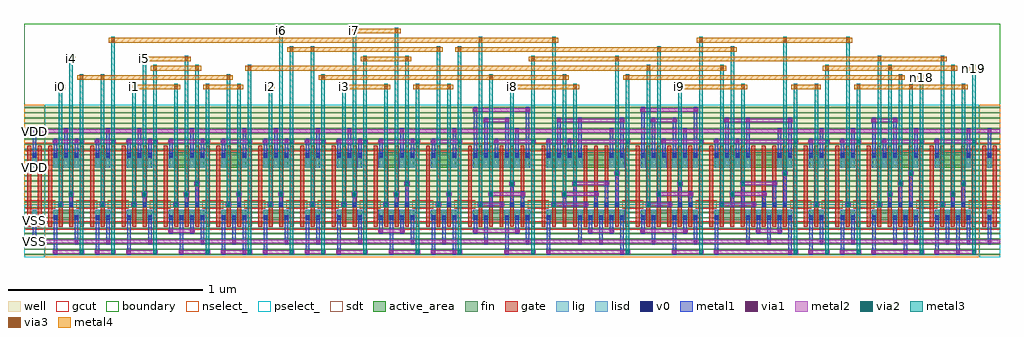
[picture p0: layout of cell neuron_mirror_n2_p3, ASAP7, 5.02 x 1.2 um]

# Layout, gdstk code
import gdstk
lib = gdstk.Library(unit=1e-6, precision=2.5e-10)
def R(c, l, rs):  # rectangles x0, y0, x1, y1
    for r in rs: c.add(gdstk.rectangle(r[:2], r[2:], *l))
def A(c, l, x, y, w, h, nx, ny, dx, dy):  # array of equal rectangles
    R(c, l, [(x+i*dx, y+j*dy, x+i*dx+w, y+j*dy+h) for i in range(nx) for j in range(ny)])
well = (1, 0)
fin = (2, 0)
gate = (7, 0)
gcut = (10, 0)
active_area = (11, 0)
nselect_ = (12, 0)
pselect_ = (13, 0)
lig = (16, 0)
lisd = (17, 0)
v0 = (18, 0)
metal1 = (19, 0)
metal2 = (20, 0)
via1 = (21, 0)
via2 = (25, 0)
metal3 = (30, 0)
via3 = (35, 0)
metal4 = (40, 0)
sdt = (88, 0)
boundary = (100, 0)

neuron_mirror_n2_p3 = lib.new_cell('neuron_mirror_n2_p3')
R(neuron_mirror_n2_p3, well, [(0,0.27,0.108,0.783), (0.108,0.27,0.324,0.783), (0.324,0.27,0.486,0.783), (0.486,0.27,0.702,0.783), (0.702,0.27,0.972,0.783), (0.972,0.27,1.188,0.783), (1.188,0.27,1.404,0.783), (1.404,0.27,1.566,0.783), (1.566,0.27,1.782,0.783), (1.782,0.27,2.052,0.783), (2.052,0.27,2.268,0.783), (2.268,0.27,2.646,0.783), (2.646,0.27,3.132,0.783), (3.132,0.27,3.51,0.783), (3.51,0.27,3.996,0.783), (3.996,0.27,4.158,0.783), (4.158,0.27,4.32,0.783), (4.32,0.27,4.644,0.783), (4.644,0.27,4.914,0.783), (4.914,0.27,5.022,0.783)])
A(neuron_mirror_n2_p3, fin, 0, 0.01, 0.108, 0.007, 1, 29, 0, 0.027)
A(neuron_mirror_n2_p3, fin, 0.108, 0.01, 0.216, 0.007, 1, 29, 0, 0.027)
A(neuron_mirror_n2_p3, fin, 0.324, 0.01, 0.162, 0.007, 1, 29, 0, 0.027)
A(neuron_mirror_n2_p3, fin, 0.486, 0.01, 0.216, 0.007, 1, 29, 0, 0.027)
A(neuron_mirror_n2_p3, fin, 0.702, 0.01, 0.27, 0.007, 1, 29, 0, 0.027)
A(neuron_mirror_n2_p3, fin, 0.972, 0.01, 0.216, 0.007, 1, 29, 0, 0.027)
A(neuron_mirror_n2_p3, fin, 1.188, 0.01, 0.216, 0.007, 1, 29, 0, 0.027)
A(neuron_mirror_n2_p3, fin, 1.404, 0.01, 0.162, 0.007, 1, 29, 0, 0.027)
A(neuron_mirror_n2_p3, fin, 1.566, 0.01, 0.216, 0.007, 1, 29, 0, 0.027)
A(neuron_mirror_n2_p3, fin, 1.782, 0.01, 0.27, 0.007, 1, 29, 0, 0.027)
A(neuron_mirror_n2_p3, fin, 2.052, 0.01, 0.216, 0.007, 1, 29, 0, 0.027)
A(neuron_mirror_n2_p3, fin, 2.268, 0.01, 0.378, 0.007, 1, 29, 0, 0.027)
A(neuron_mirror_n2_p3, fin, 2.646, 0.01, 0.486, 0.007, 1, 29, 0, 0.027)
A(neuron_mirror_n2_p3, fin, 3.132, 0.01, 0.378, 0.007, 1, 29, 0, 0.027)
A(neuron_mirror_n2_p3, fin, 3.51, 0.01, 0.486, 0.007, 1, 29, 0, 0.027)
A(neuron_mirror_n2_p3, fin, 3.996, 0.01, 0.162, 0.007, 1, 29, 0, 0.027)
A(neuron_mirror_n2_p3, fin, 4.158, 0.01, 0.162, 0.007, 1, 29, 0, 0.027)
A(neuron_mirror_n2_p3, fin, 4.32, 0.01, 0.324, 0.007, 1, 29, 0, 0.027)
A(neuron_mirror_n2_p3, fin, 4.644, 0.01, 0.27, 0.007, 1, 29, 0, 0.027)
A(neuron_mirror_n2_p3, fin, 4.914, 0.01, 0.108, 0.007, 1, 29, 0, 0.027)
A(neuron_mirror_n2_p3, gate, 0.017, 0.157, 0.02, 0.415, 93, 1, 0.054, 0)
R(neuron_mirror_n2_p3, gcut, [(0,0.14,0.108,0.184), (0.108,0.14,0.324,0.184), (0.324,0.14,0.486,0.184), (0.486,0.14,0.702,0.184), (0.702,0.14,0.972,0.184), (0.972,0.14,1.188,0.184), (1.188,0.14,1.404,0.184), (1.404,0.14,1.566,0.184), (1.566,0.14,1.782,0.184), (1.782,0.14,2.052,0.184), (2.052,0.14,2.268,0.184), (2.268,0.14,2.646,0.184), (2.646,0.14,3.132,0.184), (3.132,0.14,3.51,0.184), (3.51,0.14,3.996,0.184), (3.996,0.14,4.158,0.184), (4.158,0.14,4.32,0.184), (4.32,0.14,4.644,0.184), (4.644,0.14,4.914,0.184), (4.914,0.14,5.022,0.184), (0,0.248,0.108,0.292), (0.108,0.248,0.162,0.292), (0.27,0.248,0.324,0.292), (0.324,0.248,0.378,0.292), (0.432,0.248,0.486,0.292), (0.486,0.248,0.54,0.292), (0.648,0.248,0.702,0.292), (0.702,0.248,0.756,0.292), (0.918,0.248,0.972,0.292), (0.972,0.248,1.026,0.292), (1.134,0.248,1.188,0.292), (1.188,0.248,1.242,0.292), (1.35,0.248,1.404,0.292), (1.404,0.248,1.458,0.292), (1.512,0.248,1.566,0.292), (1.566,0.248,1.62,0.292), (1.728,0.248,1.782,0.292), (1.782,0.248,1.836,0.292), (1.998,0.248,2.052,0.292), (2.052,0.248,2.106,0.292), (2.214,0.248,2.268,0.292), (2.268,0.248,2.322,0.292), (2.592,0.248,2.646,0.292), (2.646,0.248,2.7,0.292), (3.078,0.248,3.132,0.292), (3.132,0.248,3.186,0.292), (3.456,0.248,3.51,0.292), (3.51,0.248,3.564,0.292), (3.942,0.248,3.996,0.292), (3.996,0.248,4.05,0.292), (4.104,0.248,4.158,0.292), (4.158,0.248,4.212,0.292), (4.266,0.248,4.32,0.292), (4.32,0.248,4.374,0.292), (4.59,0.248,4.644,0.292), (4.644,0.248,4.698,0.292), (4.86,0.248,4.914,0.292), (4.914,0.248,5.022,0.292), (0,0.545,0.108,0.589), (0.108,0.545,0.324,0.589), (0.324,0.545,0.486,0.589), (0.486,0.545,0.702,0.589), (0.702,0.545,0.972,0.589), (0.972,0.545,1.188,0.589), (1.188,0.545,1.404,0.589), (1.404,0.545,1.566,0.589), (1.566,0.545,1.782,0.589), (1.782,0.545,2.052,0.589), (2.052,0.545,2.268,0.589), (2.268,0.545,2.646,0.589), (2.646,0.545,3.132,0.589), (3.132,0.545,3.51,0.589), (3.51,0.545,3.996,0.589), (3.996,0.545,4.158,0.589), (4.158,0.545,4.32,0.589), (4.32,0.545,4.644,0.589), (4.644,0.545,4.914,0.589), (4.914,0.545,5.022,0.589)])
R(neuron_mirror_n2_p3, active_area, [(0.046,0.189,0.062,0.243), (0.154,0.189,0.278,0.243), (0.37,0.189,0.44,0.243), (0.532,0.189,0.656,0.243), (0.748,0.189,0.926,0.243), (1.018,0.189,1.142,0.243), (1.234,0.189,1.358,0.243), (1.45,0.189,1.52,0.243), (1.612,0.189,1.736,0.243), (1.828,0.189,2.006,0.243), (2.098,0.189,2.222,0.243), (2.314,0.189,2.6,0.243), (2.692,0.189,3.086,0.243), (3.178,0.189,3.464,0.243), (3.556,0.189,3.95,0.243), (4.042,0.189,4.112,0.243), (4.204,0.189,4.274,0.243), (4.366,0.189,4.598,0.243), (4.69,0.189,4.868,0.243), (4.96,0.189,4.976,0.243), (0.046,0.459,0.062,0.54), (0.154,0.459,0.278,0.54), (0.37,0.459,0.44,0.54), (0.532,0.459,0.656,0.54), (0.748,0.459,0.926,0.54), (1.018,0.459,1.142,0.54), (1.234,0.459,1.358,0.54), (1.45,0.459,1.52,0.54), (1.612,0.459,1.736,0.54), (1.828,0.459,2.006,0.54), (2.098,0.459,2.222,0.54), (2.314,0.459,2.6,0.54), (2.692,0.459,3.086,0.54), (3.178,0.459,3.464,0.54), (3.556,0.459,3.95,0.54), (4.042,0.459,4.112,0.54), (4.204,0.459,4.274,0.54), (4.366,0.459,4.598,0.54), (4.69,0.459,4.868,0.54), (4.96,0.459,4.976,0.54)])
R(neuron_mirror_n2_p3, nselect_, [(0.108,0,0.324,0.27), (0.324,0,0.486,0.27), (0.486,0,0.702,0.27), (0.702,0,0.972,0.27), (0.972,0,1.188,0.27), (1.188,0,1.404,0.27), (1.404,0,1.566,0.27), (1.566,0,1.782,0.27), (1.782,0,2.052,0.27), (2.052,0,2.268,0.27), (2.268,0,2.646,0.27), (2.646,0,3.132,0.27), (3.132,0,3.51,0.27), (3.51,0,3.996,0.27), (3.996,0,4.158,0.27), (4.158,0,4.32,0.27), (4.32,0,4.644,0.27), (4.644,0,4.914,0.27), (0,0.27,0.108,0.783), (4.914,0.27,5.022,0.783)])
R(neuron_mirror_n2_p3, pselect_, [(0,0,0.108,0.27), (4.914,0,5.022,0.27), (0.108,0.27,0.324,0.783), (0.324,0.27,0.486,0.783), (0.486,0.27,0.702,0.783), (0.702,0.27,0.972,0.783), (0.972,0.27,1.188,0.783), (1.188,0.27,1.404,0.783), (1.404,0.27,1.566,0.783), (1.566,0.27,1.782,0.783), (1.782,0.27,2.052,0.783), (2.052,0.27,2.268,0.783), (2.268,0.27,2.646,0.783), (2.646,0.27,3.132,0.783), (3.132,0.27,3.51,0.783), (3.51,0.27,3.996,0.783), (3.996,0.27,4.158,0.783), (4.158,0.27,4.32,0.783), (4.32,0.27,4.644,0.783), (4.644,0.27,4.914,0.783)])
A(neuron_mirror_n2_p3, lig, 0.232, 0.259, 0.022, 0.022, 3, 1, 0.162, 0)
A(neuron_mirror_n2_p3, lig, 0.772, 0.259, 0.022, 0.022, 3, 1, 0.054, 0)
A(neuron_mirror_n2_p3, lig, 1.312, 0.259, 0.022, 0.022, 3, 1, 0.162, 0)
A(neuron_mirror_n2_p3, lig, 1.852, 0.259, 0.022, 0.022, 3, 1, 0.054, 0)
A(neuron_mirror_n2_p3, lig, 2.338, 0.259, 0.022, 0.022, 5, 1, 0.054, 0)
A(neuron_mirror_n2_p3, lig, 2.716, 0.259, 0.022, 0.022, 7, 1, 0.054, 0)
A(neuron_mirror_n2_p3, lig, 3.202, 0.259, 0.022, 0.022, 5, 1, 0.054, 0)
A(neuron_mirror_n2_p3, lig, 3.58, 0.259, 0.022, 0.022, 7, 1, 0.054, 0)
A(neuron_mirror_n2_p3, lig, 4.066, 0.259, 0.022, 0.022, 3, 1, 0.162, 0)
A(neuron_mirror_n2_p3, lig, 4.444, 0.259, 0.022, 0.022, 3, 1, 0.054, 0)
A(neuron_mirror_n2_p3, lig, 4.714, 0.259, 0.022, 0.022, 3, 1, 0.054, 0)
R(neuron_mirror_n2_p3, lig, [(0.178,0.259,0.2,0.281), (0.61,0.259,0.632,0.281), (1.042,0.259,1.064,0.281), (1.096,0.259,1.118,0.281), (1.258,0.259,1.28,0.281), (1.69,0.259,1.712,0.281), (2.122,0.259,2.144,0.281), (2.176,0.259,2.198,0.281)])
A(neuron_mirror_n2_p3, lisd, 0.042, 0.189, 0.024, 0.054, 4, 1, 0.108, 0)
A(neuron_mirror_n2_p3, lisd, 0.42, 0.189, 0.024, 0.054, 4, 1, 0.108, 0)
A(neuron_mirror_n2_p3, lisd, 0.798, 0.189, 0.024, 0.054, 3, 1, 0.054, 0)
A(neuron_mirror_n2_p3, lisd, 1.014, 0.189, 0.024, 0.054, 3, 1, 0.054, 0)
A(neuron_mirror_n2_p3, lisd, 1.23, 0.189, 0.024, 0.054, 3, 1, 0.108, 0)
A(neuron_mirror_n2_p3, lisd, 1.5, 0.189, 0.024, 0.054, 4, 1, 0.108, 0)
A(neuron_mirror_n2_p3, lisd, 1.878, 0.189, 0.024, 0.054, 3, 1, 0.054, 0)
A(neuron_mirror_n2_p3, lisd, 2.094, 0.189, 0.024, 0.054, 3, 1, 0.054, 0)
A(neuron_mirror_n2_p3, lisd, 2.472, 0.189, 0.024, 0.054, 3, 1, 0.054, 0)
A(neuron_mirror_n2_p3, lisd, 2.85, 0.189, 0.024, 0.054, 5, 1, 0.054, 0)
A(neuron_mirror_n2_p3, lisd, 3.336, 0.189, 0.024, 0.054, 3, 1, 0.054, 0)
A(neuron_mirror_n2_p3, lisd, 3.714, 0.189, 0.024, 0.054, 5, 1, 0.054, 0)
A(neuron_mirror_n2_p3, lisd, 4.254, 0.189, 0.024, 0.054, 3, 1, 0.108, 0)
A(neuron_mirror_n2_p3, lisd, 4.686, 0.189, 0.024, 0.054, 4, 1, 0.054, 0)
A(neuron_mirror_n2_p3, lisd, 0.15, 0.459, 0.024, 0.081, 3, 1, 0.054, 0)
A(neuron_mirror_n2_p3, lisd, 0.528, 0.459, 0.024, 0.081, 3, 1, 0.054, 0)
A(neuron_mirror_n2_p3, lisd, 0.906, 0.459, 0.024, 0.081, 4, 1, 0.108, 0)
A(neuron_mirror_n2_p3, lisd, 1.608, 0.459, 0.024, 0.081, 3, 1, 0.054, 0)
A(neuron_mirror_n2_p3, lisd, 1.986, 0.459, 0.024, 0.081, 4, 1, 0.108, 0)
A(neuron_mirror_n2_p3, lisd, 2.364, 0.459, 0.024, 0.081, 5, 1, 0.054, 0)
A(neuron_mirror_n2_p3, lisd, 2.688, 0.459, 0.024, 0.081, 4, 1, 0.054, 0)
A(neuron_mirror_n2_p3, lisd, 3.174, 0.459, 0.024, 0.081, 6, 1, 0.054, 0)
A(neuron_mirror_n2_p3, lisd, 3.552, 0.459, 0.024, 0.081, 4, 1, 0.054, 0)
A(neuron_mirror_n2_p3, lisd, 4.362, 0.459, 0.024, 0.081, 3, 1, 0.054, 0)
R(neuron_mirror_n2_p3, lisd, [(2.31,0.189,2.334,0.243), (2.364,0.189,2.388,0.243), (2.688,0.189,2.712,0.243), (3.174,0.189,3.198,0.243), (3.228,0.189,3.252,0.243), (3.552,0.189,3.576,0.243), (4.038,0.189,4.062,0.243), (4.092,0.189,4.116,0.243), (4.2,0.189,4.224,0.243), (4.524,0.189,4.548,0.243), (4.578,0.189,4.602,0.243), (4.956,0.189,4.98,0.243), (0.042,0.459,0.066,0.54), (0.366,0.459,0.39,0.54), (0.42,0.459,0.444,0.54), (0.744,0.459,0.768,0.54), (0.852,0.459,0.876,0.54), (1.284,0.459,1.308,0.54), (1.338,0.459,1.362,0.54), (1.446,0.459,1.47,0.54), (1.5,0.459,1.524,0.54), (1.824,0.459,1.848,0.54), (1.932,0.459,1.956,0.54), (3.012,0.459,3.036,0.54), (3.066,0.459,3.09,0.54), (3.876,0.459,3.9,0.54), (3.93,0.459,3.954,0.54), (4.038,0.459,4.062,0.54), (4.092,0.459,4.116,0.54), (4.2,0.459,4.224,0.54), (4.254,0.459,4.278,0.54), (4.578,0.459,4.602,0.54), (4.686,0.459,4.71,0.54), (4.848,0.459,4.872,0.54), (4.956,0.459,4.98,0.54)])
A(neuron_mirror_n2_p3, v0, 0.045, 0.1935, 0.018, 0.018, 4, 1, 0.108, 0)
A(neuron_mirror_n2_p3, v0, 0.423, 0.1935, 0.018, 0.018, 4, 1, 0.108, 0)
A(neuron_mirror_n2_p3, v0, 0.801, 0.1935, 0.018, 0.018, 3, 1, 0.054, 0)
A(neuron_mirror_n2_p3, v0, 1.017, 0.1935, 0.018, 0.018, 3, 1, 0.054, 0)
A(neuron_mirror_n2_p3, v0, 1.233, 0.1935, 0.018, 0.018, 3, 1, 0.108, 0)
A(neuron_mirror_n2_p3, v0, 1.503, 0.1935, 0.018, 0.018, 4, 1, 0.108, 0)
A(neuron_mirror_n2_p3, v0, 1.881, 0.1935, 0.018, 0.018, 3, 1, 0.054, 0)
A(neuron_mirror_n2_p3, v0, 2.097, 0.1935, 0.018, 0.018, 3, 1, 0.054, 0)
A(neuron_mirror_n2_p3, v0, 2.475, 0.1935, 0.018, 0.018, 3, 1, 0.054, 0)
A(neuron_mirror_n2_p3, v0, 2.853, 0.1935, 0.018, 0.018, 5, 1, 0.054, 0)
A(neuron_mirror_n2_p3, v0, 3.339, 0.1935, 0.018, 0.018, 3, 1, 0.054, 0)
A(neuron_mirror_n2_p3, v0, 3.717, 0.1935, 0.018, 0.018, 5, 1, 0.054, 0)
A(neuron_mirror_n2_p3, v0, 4.257, 0.1935, 0.018, 0.018, 3, 1, 0.108, 0)
A(neuron_mirror_n2_p3, v0, 4.689, 0.1935, 0.018, 0.018, 4, 1, 0.054, 0)
A(neuron_mirror_n2_p3, v0, 0.234, 0.261, 0.018, 0.018, 3, 1, 0.162, 0)
A(neuron_mirror_n2_p3, v0, 0.774, 0.261, 0.018, 0.018, 3, 1, 0.054, 0)
A(neuron_mirror_n2_p3, v0, 1.314, 0.261, 0.018, 0.018, 3, 1, 0.162, 0)
A(neuron_mirror_n2_p3, v0, 1.854, 0.261, 0.018, 0.018, 3, 1, 0.054, 0)
A(neuron_mirror_n2_p3, v0, 2.34, 0.261, 0.018, 0.018, 5, 1, 0.054, 0)
A(neuron_mirror_n2_p3, v0, 2.718, 0.261, 0.018, 0.018, 7, 1, 0.054, 0)
A(neuron_mirror_n2_p3, v0, 3.204, 0.261, 0.018, 0.018, 5, 1, 0.054, 0)
A(neuron_mirror_n2_p3, v0, 3.582, 0.261, 0.018, 0.018, 7, 1, 0.054, 0)
A(neuron_mirror_n2_p3, v0, 4.068, 0.261, 0.018, 0.018, 3, 1, 0.162, 0)
A(neuron_mirror_n2_p3, v0, 4.446, 0.261, 0.018, 0.018, 3, 1, 0.054, 0)
A(neuron_mirror_n2_p3, v0, 4.716, 0.261, 0.018, 0.018, 3, 1, 0.054, 0)
A(neuron_mirror_n2_p3, v0, 0.153, 0.5175, 0.018, 0.018, 3, 1, 0.054, 0)
A(neuron_mirror_n2_p3, v0, 0.531, 0.5175, 0.018, 0.018, 3, 1, 0.054, 0)
A(neuron_mirror_n2_p3, v0, 0.909, 0.5175, 0.018, 0.018, 4, 1, 0.108, 0)
A(neuron_mirror_n2_p3, v0, 1.611, 0.5175, 0.018, 0.018, 3, 1, 0.054, 0)
A(neuron_mirror_n2_p3, v0, 1.989, 0.5175, 0.018, 0.018, 4, 1, 0.108, 0)
A(neuron_mirror_n2_p3, v0, 2.367, 0.5175, 0.018, 0.018, 5, 1, 0.054, 0)
A(neuron_mirror_n2_p3, v0, 2.691, 0.5175, 0.018, 0.018, 4, 1, 0.054, 0)
A(neuron_mirror_n2_p3, v0, 3.177, 0.5175, 0.018, 0.018, 6, 1, 0.054, 0)
A(neuron_mirror_n2_p3, v0, 3.555, 0.5175, 0.018, 0.018, 4, 1, 0.054, 0)
A(neuron_mirror_n2_p3, v0, 4.365, 0.5175, 0.018, 0.018, 3, 1, 0.054, 0)
R(neuron_mirror_n2_p3, v0, [(2.313,0.1935,2.331,0.2115), (2.367,0.1935,2.385,0.2115), (2.691,0.1935,2.709,0.2115), (3.177,0.1935,3.195,0.2115), (3.231,0.1935,3.249,0.2115), (3.555,0.1935,3.573,0.2115), (4.041,0.1935,4.059,0.2115), (4.095,0.1935,4.113,0.2115), (4.203,0.1935,4.221,0.2115), (4.527,0.1935,4.545,0.2115), (4.581,0.1935,4.599,0.2115), (4.959,0.1935,4.977,0.2115), (0.18,0.261,0.198,0.279), (0.612,0.261,0.63,0.279), (1.044,0.261,1.062,0.279), (1.098,0.261,1.116,0.279), (1.26,0.261,1.278,0.279), (1.692,0.261,1.71,0.279), (2.124,0.261,2.142,0.279), (2.178,0.261,2.196,0.279), (0.045,0.5175,0.063,0.5355), (0.369,0.5175,0.387,0.5355), (0.423,0.5175,0.441,0.5355), (0.747,0.5175,0.765,0.5355), (0.855,0.5175,0.873,0.5355), (1.287,0.5175,1.305,0.5355), (1.341,0.5175,1.359,0.5355), (1.449,0.5175,1.467,0.5355), (1.503,0.5175,1.521,0.5355), (1.827,0.5175,1.845,0.5355), (1.935,0.5175,1.953,0.5355), (3.015,0.5175,3.033,0.5355), (3.069,0.5175,3.087,0.5355), (3.879,0.5175,3.897,0.5355), (3.933,0.5175,3.951,0.5355), (4.041,0.5175,4.059,0.5355), (4.095,0.5175,4.113,0.5355), (4.203,0.5175,4.221,0.5355), (4.257,0.5175,4.275,0.5355), (4.581,0.5175,4.599,0.5355), (4.689,0.5175,4.707,0.5355), (4.851,0.5175,4.869,0.5355), (4.959,0.5175,4.977,0.5355)])
A(neuron_mirror_n2_p3, metal1, 1.017, 0.013, 0.018, 0.2035, 3, 1, 0.108, 0)
A(neuron_mirror_n2_p3, metal1, 4.041, 0.013, 0.018, 0.2035, 5, 1, 0.162, 0)
A(neuron_mirror_n2_p3, metal1, 2.151, 0.067, 0.018, 0.1495, 3, 1, 0.216, 0)
A(neuron_mirror_n2_p3, metal1, 4.743, 0.067, 0.018, 0.1495, 3, 1, 0.108, 0)
A(neuron_mirror_n2_p3, metal1, 1.044, 0.256, 0.018, 0.028, 3, 1, 0.216, 0)
A(neuron_mirror_n2_p3, metal1, 4.068, 0.256, 0.018, 0.028, 3, 1, 0.162, 0)
A(neuron_mirror_n2_p3, metal1, 0.153, 0.5125, 0.018, 0.0955, 3, 1, 0.108, 0)
A(neuron_mirror_n2_p3, metal1, 0.531, 0.5125, 0.018, 0.0955, 3, 1, 0.108, 0)
A(neuron_mirror_n2_p3, metal1, 0.585, 0.5125, 0.018, 0.1495, 3, 1, 0.27, 0)
A(neuron_mirror_n2_p3, metal1, 1.233, 0.5125, 0.018, 0.0955, 3, 1, 0.108, 0)
A(neuron_mirror_n2_p3, metal1, 1.611, 0.5125, 0.018, 0.0955, 3, 1, 0.108, 0)
A(neuron_mirror_n2_p3, metal1, 1.665, 0.5125, 0.018, 0.1495, 3, 1, 0.27, 0)
R(neuron_mirror_n2_p3, metal1, [(0.153,0.013,0.171,0.2165), (0.369,0.013,0.387,0.2165), (0.531,0.013,0.549,0.2165), (0.801,0.013,0.819,0.2165), (1.449,0.013,1.467,0.2165), (1.611,0.013,1.629,0.2165), (1.881,0.013,1.899,0.2165), (2.097,0.013,2.115,0.2165), (2.205,0.013,2.223,0.2165), (2.475,0.013,2.493,0.2165), (2.691,0.013,2.709,0.2165), (3.069,0.013,3.087,0.2165), (3.339,0.013,3.357,0.2165), (3.555,0.013,3.573,0.2165), (3.933,0.013,3.951,0.2165), (4.797,0.013,4.815,0.2165), (0.045,0.067,0.063,0.2165), (0.261,0.067,0.279,0.2165), (0.423,0.067,0.441,0.2165), (0.639,0.067,0.657,0.2165), (0.909,0.067,0.927,0.2165), (1.071,0.067,1.089,0.2165), (1.341,0.067,1.359,0.2165), (1.503,0.067,1.521,0.2165), (1.719,0.067,1.737,0.2165), (1.989,0.067,2.007,0.2165), (2.853,0.067,2.871,0.2165), (2.961,0.067,2.979,0.2165), (3.231,0.067,3.249,0.2165), (3.447,0.067,3.465,0.2165), (3.717,0.067,3.735,0.2165), (3.825,0.067,3.843,0.2165), (4.095,0.067,4.113,0.2165), (4.257,0.067,4.275,0.2165), (4.473,0.067,4.491,0.2165), (4.581,0.067,4.599,0.2165), (0.747,0.121,0.765,0.2165), (0.855,0.121,0.873,0.2165), (1.827,0.121,1.845,0.2165), (1.935,0.121,1.953,0.2165), (2.313,0.121,2.331,0.2165), (2.529,0.121,2.547,0.2165), (2.907,0.121,2.925,0.2165), (3.015,0.121,3.033,0.2165), (3.177,0.121,3.195,0.2165), (3.393,0.121,3.411,0.2165), (3.771,0.121,3.789,0.2165), (3.879,0.121,3.897,0.2165), (0.18,0.256,0.198,0.284), (0.234,0.256,0.252,0.338), (0.396,0.256,0.414,0.284), (0.558,0.256,0.576,0.284), (0.612,0.256,0.63,0.338), (0.774,0.256,0.792,0.284), (0.828,0.256,0.846,0.338), (0.882,0.256,0.9,0.392), (1.098,0.256,1.116,0.338), (1.314,0.256,1.332,0.338), (1.638,0.256,1.656,0.284), (1.692,0.256,1.71,0.338), (1.854,0.256,1.872,0.284), (1.908,0.256,1.926,0.338), (1.962,0.256,1.98,0.392), (2.124,0.256,2.142,0.284), (2.178,0.256,2.196,0.338), (2.34,0.256,2.358,0.284), (2.394,0.256,2.412,0.338), (2.448,0.256,2.466,0.284), (2.502,0.256,2.52,0.392), (2.556,0.256,2.574,0.338), (2.718,0.256,2.736,0.284), (2.772,0.256,2.79,0.338), (2.826,0.256,2.844,0.392), (2.88,0.256,2.898,0.284), (2.934,0.256,2.952,0.338), (2.988,0.256,3.006,0.392), (3.042,0.256,3.06,0.446), (3.204,0.256,3.222,0.284), (3.258,0.256,3.276,0.338), (3.312,0.256,3.33,0.284), (3.366,0.256,3.384,0.392), (3.42,0.256,3.438,0.338), (3.582,0.256,3.6,0.284), (3.636,0.256,3.654,0.338), (3.69,0.256,3.708,0.392), (3.744,0.256,3.762,0.284), (3.798,0.256,3.816,0.338), (3.852,0.256,3.87,0.392), (3.906,0.256,3.924,0.446), (4.446,0.256,4.464,0.338), (4.5,0.256,4.518,0.392), (4.554,0.256,4.572,0.446), (4.716,0.256,4.734,0.284), (4.77,0.256,4.788,0.338), (4.824,0.256,4.842,0.392), (0.045,0.5125,0.063,0.662), (0.207,0.5125,0.225,0.662), (0.423,0.5125,0.441,0.662), (0.909,0.5125,0.927,0.608), (1.017,0.5125,1.035,0.608), (1.287,0.5125,1.305,0.662), (1.503,0.5125,1.521,0.662), (1.989,0.5125,2.007,0.608), (2.097,0.5125,2.115,0.608), (2.313,0.5125,2.331,0.77), (2.367,0.5125,2.385,0.716), (2.421,0.5125,2.439,0.608), (2.475,0.5125,2.493,0.716), (2.529,0.5125,2.547,0.662), (2.583,0.5125,2.601,0.77), (2.691,0.5125,2.709,0.608), (2.745,0.5125,2.763,0.716), (2.799,0.5125,2.817,0.608), (2.853,0.5125,2.871,0.716), (3.015,0.5125,3.033,0.662), (3.069,0.5125,3.087,0.716), (3.177,0.5125,3.195,0.77), (3.231,0.5125,3.249,0.716), (3.285,0.5125,3.303,0.608), (3.339,0.5125,3.357,0.716), (3.393,0.5125,3.411,0.662), (3.447,0.5125,3.465,0.77), (3.555,0.5125,3.573,0.608), (3.609,0.5125,3.627,0.716), (3.663,0.5125,3.681,0.608), (3.717,0.5125,3.735,0.716), (3.879,0.5125,3.897,0.662), (3.933,0.5125,3.951,0.716), (4.041,0.5125,4.059,0.608), (4.095,0.5125,4.113,0.662), (4.203,0.5125,4.221,0.608), (4.257,0.5125,4.275,0.662), (4.365,0.5125,4.383,0.716), (4.419,0.5125,4.437,0.608), (4.473,0.5125,4.491,0.716), (4.581,0.5125,4.599,0.662), (4.689,0.5125,4.707,0.608), (4.851,0.5125,4.869,0.662), (4.959,0.5125,4.977,0.662)])
A(neuron_mirror_n2_p3, metal2, 0.796, 0.018, 0.163, 0.018, 3, 1, 0.216, 0)
A(neuron_mirror_n2_p3, metal2, 0.742, 0.126, 0.136, 0.018, 3, 1, 1.08, 0)
A(neuron_mirror_n2_p3, metal2, 1.039, 0.261, 0.028, 0.018, 3, 1, 0.216, 0)
A(neuron_mirror_n2_p3, metal2, 4.063, 0.261, 0.028, 0.018, 3, 1, 0.162, 0)
A(neuron_mirror_n2_p3, metal2, 0.58, 0.639, 0.028, 0.018, 3, 1, 0.27, 0)
A(neuron_mirror_n2_p3, metal2, 1.66, 0.639, 0.028, 0.018, 3, 1, 0.27, 0)
R(neuron_mirror_n2_p3, metal2, [(0.148,0.018,0.311,0.036), (0.364,0.018,0.473,0.036), (0.526,0.018,0.689,0.036), (1.444,0.018,1.553,0.036), (1.606,0.018,1.769,0.036), (1.876,0.018,2.039,0.036), (2.092,0.018,2.255,0.036), (2.47,0.018,2.633,0.036), (2.686,0.018,3.119,0.036), (3.334,0.018,3.497,0.036), (3.55,0.018,3.983,0.036), (4.036,0.018,4.145,0.036), (4.198,0.018,4.307,0.036), (4.36,0.018,4.631,0.036), (4.684,0.018,4.901,0.036), (0,0.072,5.022,0.09), (0.04,0.072,0.068,0.09), (0.256,0.072,0.284,0.09), (0.418,0.072,0.446,0.09), (0.634,0.072,0.662,0.09), (0.904,0.072,0.932,0.09), (1.066,0.072,1.094,0.09), (1.336,0.072,1.364,0.09), (1.498,0.072,1.526,0.09), (1.714,0.072,1.742,0.09), (1.984,0.072,2.012,0.09), (2.146,0.072,2.174,0.09), (2.362,0.072,2.606,0.09), (2.848,0.072,2.984,0.09), (3.226,0.072,3.47,0.09), (3.712,0.072,3.848,0.09), (4.09,0.072,4.118,0.09), (4.252,0.072,4.28,0.09), (4.468,0.072,4.604,0.09), (4.738,0.072,4.874,0.09), (4.954,0.072,4.982,0.09), (2.308,0.126,2.552,0.144), (3.172,0.126,3.416,0.144), (3.766,0.126,3.902,0.144), (0.175,0.261,0.203,0.279), (0.391,0.261,0.419,0.279), (0.553,0.261,0.581,0.279), (0.769,0.261,0.797,0.279), (1.633,0.261,1.661,0.279), (1.849,0.261,1.877,0.279), (2.119,0.261,2.147,0.279), (2.335,0.261,2.471,0.279), (2.713,0.261,2.903,0.279), (3.199,0.261,3.335,0.279), (3.577,0.261,3.767,0.279), (4.711,0.261,4.739,0.279), (0.229,0.315,0.257,0.333), (0.607,0.315,0.635,0.333), (0.823,0.315,0.851,0.333), (1.093,0.315,1.121,0.333), (1.309,0.315,1.337,0.333), (1.687,0.315,1.715,0.333), (1.903,0.315,1.931,0.333), (2.173,0.315,2.201,0.333), (2.389,0.315,2.579,0.333), (2.767,0.315,2.957,0.333), (3.253,0.315,3.443,0.333), (3.631,0.315,3.821,0.333), (4.441,0.315,4.469,0.333), (4.765,0.315,4.793,0.333), (0.877,0.369,0.905,0.387), (1.957,0.369,1.985,0.387), (2.497,0.369,2.525,0.387), (2.821,0.369,3.011,0.387), (3.361,0.369,3.389,0.387), (3.685,0.369,3.875,0.387), (4.495,0.369,4.523,0.387), (4.819,0.369,4.847,0.387), (3.037,0.423,3.065,0.441), (3.901,0.423,3.929,0.441), (4.549,0.423,4.577,0.441), (0.148,0.585,0.311,0.603), (0.364,0.585,0.473,0.603), (0.526,0.585,0.689,0.603), (0.742,0.585,0.959,0.603), (1.012,0.585,1.175,0.603), (1.228,0.585,1.391,0.603), (1.444,0.585,1.553,0.603), (1.606,0.585,1.769,0.603), (1.822,0.585,2.039,0.603), (2.092,0.585,2.255,0.603), (2.416,0.585,2.633,0.603), (2.686,0.585,3.119,0.603), (3.28,0.585,3.497,0.603), (3.55,0.585,3.983,0.603), (4.036,0.585,4.145,0.603), (4.198,0.585,4.307,0.603), (4.414,0.585,4.631,0.603), (4.684,0.585,4.901,0.603), (0,0.639,5.022,0.657), (0.04,0.639,0.068,0.657), (0.202,0.639,0.23,0.657), (0.418,0.639,0.446,0.657), (1.282,0.639,1.31,0.657), (1.498,0.639,1.526,0.657), (2.524,0.639,2.552,0.657), (3.01,0.639,3.038,0.657), (3.388,0.639,3.416,0.657), (3.874,0.639,3.902,0.657), (4.09,0.639,4.118,0.657), (4.252,0.639,4.28,0.657), (4.576,0.639,4.604,0.657), (4.846,0.639,4.874,0.657), (4.954,0.639,4.982,0.657), (2.362,0.693,2.498,0.711), (2.74,0.693,3.092,0.711), (3.226,0.693,3.362,0.711), (3.604,0.693,3.956,0.711), (4.36,0.693,4.496,0.711), (2.308,0.747,2.606,0.765), (3.172,0.747,3.47,0.765)])
A(neuron_mirror_n2_p3, via1, 1.017, 0.018, 0.018, 0.018, 3, 1, 0.108, 0)
A(neuron_mirror_n2_p3, via1, 4.041, 0.018, 0.018, 0.018, 5, 1, 0.162, 0)
A(neuron_mirror_n2_p3, via1, 2.151, 0.072, 0.018, 0.018, 3, 1, 0.216, 0)
A(neuron_mirror_n2_p3, via1, 4.743, 0.072, 0.018, 0.018, 3, 1, 0.108, 0)
A(neuron_mirror_n2_p3, via1, 1.044, 0.261, 0.018, 0.018, 3, 1, 0.216, 0)
A(neuron_mirror_n2_p3, via1, 4.068, 0.261, 0.018, 0.018, 3, 1, 0.162, 0)
A(neuron_mirror_n2_p3, via1, 0.153, 0.585, 0.018, 0.018, 3, 1, 0.108, 0)
A(neuron_mirror_n2_p3, via1, 0.531, 0.585, 0.018, 0.018, 3, 1, 0.108, 0)
A(neuron_mirror_n2_p3, via1, 1.233, 0.585, 0.018, 0.018, 3, 1, 0.108, 0)
A(neuron_mirror_n2_p3, via1, 1.611, 0.585, 0.018, 0.018, 3, 1, 0.108, 0)
A(neuron_mirror_n2_p3, via1, 0.585, 0.639, 0.018, 0.018, 3, 1, 0.27, 0)
A(neuron_mirror_n2_p3, via1, 1.665, 0.639, 0.018, 0.018, 3, 1, 0.27, 0)
R(neuron_mirror_n2_p3, via1, [(0.153,0.018,0.171,0.036), (0.369,0.018,0.387,0.036), (0.531,0.018,0.549,0.036), (0.801,0.018,0.819,0.036), (1.449,0.018,1.467,0.036), (1.611,0.018,1.629,0.036), (1.881,0.018,1.899,0.036), (2.097,0.018,2.115,0.036), (2.205,0.018,2.223,0.036), (2.475,0.018,2.493,0.036), (2.691,0.018,2.709,0.036), (3.069,0.018,3.087,0.036), (3.339,0.018,3.357,0.036), (3.555,0.018,3.573,0.036), (3.933,0.018,3.951,0.036), (4.797,0.018,4.815,0.036), (0.045,0.072,0.063,0.09), (0.261,0.072,0.279,0.09), (0.423,0.072,0.441,0.09), (0.639,0.072,0.657,0.09), (0.909,0.072,0.927,0.09), (1.071,0.072,1.089,0.09), (1.341,0.072,1.359,0.09), (1.503,0.072,1.521,0.09), (1.719,0.072,1.737,0.09), (1.989,0.072,2.007,0.09), (2.853,0.072,2.871,0.09), (2.961,0.072,2.979,0.09), (3.231,0.072,3.249,0.09), (3.447,0.072,3.465,0.09), (3.717,0.072,3.735,0.09), (3.825,0.072,3.843,0.09), (4.095,0.072,4.113,0.09), (4.257,0.072,4.275,0.09), (4.473,0.072,4.491,0.09), (4.581,0.072,4.599,0.09), (0.747,0.126,0.765,0.144), (0.855,0.126,0.873,0.144), (1.827,0.126,1.845,0.144), (1.935,0.126,1.953,0.144), (2.313,0.126,2.331,0.144), (2.529,0.126,2.547,0.144), (2.907,0.126,2.925,0.144), (3.015,0.126,3.033,0.144), (3.177,0.126,3.195,0.144), (3.393,0.126,3.411,0.144), (3.771,0.126,3.789,0.144), (3.879,0.126,3.897,0.144), (0.18,0.261,0.198,0.279), (0.396,0.261,0.414,0.279), (0.558,0.261,0.576,0.279), (0.774,0.261,0.792,0.279), (1.638,0.261,1.656,0.279), (1.854,0.261,1.872,0.279), (2.124,0.261,2.142,0.279), (2.34,0.261,2.358,0.279), (2.448,0.261,2.466,0.279), (2.718,0.261,2.736,0.279), (2.88,0.261,2.898,0.279), (3.204,0.261,3.222,0.279), (3.312,0.261,3.33,0.279), (3.582,0.261,3.6,0.279), (3.744,0.261,3.762,0.279), (4.716,0.261,4.734,0.279), (0.234,0.315,0.252,0.333), (0.612,0.315,0.63,0.333), (0.828,0.315,0.846,0.333), (1.098,0.315,1.116,0.333), (1.314,0.315,1.332,0.333), (1.692,0.315,1.71,0.333), (1.908,0.315,1.926,0.333), (2.178,0.315,2.196,0.333), (2.394,0.315,2.412,0.333), (2.556,0.315,2.574,0.333), (2.772,0.315,2.79,0.333), (2.934,0.315,2.952,0.333), (3.258,0.315,3.276,0.333), (3.42,0.315,3.438,0.333), (3.636,0.315,3.654,0.333), (3.798,0.315,3.816,0.333), (4.446,0.315,4.464,0.333), (4.77,0.315,4.788,0.333), (0.882,0.369,0.9,0.387), (1.962,0.369,1.98,0.387), (2.502,0.369,2.52,0.387), (2.826,0.369,2.844,0.387), (2.988,0.369,3.006,0.387), (3.366,0.369,3.384,0.387), (3.69,0.369,3.708,0.387), (3.852,0.369,3.87,0.387), (4.5,0.369,4.518,0.387), (4.824,0.369,4.842,0.387), (3.042,0.423,3.06,0.441), (3.906,0.423,3.924,0.441), (4.554,0.423,4.572,0.441), (0.909,0.585,0.927,0.603), (1.017,0.585,1.035,0.603), (1.989,0.585,2.007,0.603), (2.097,0.585,2.115,0.603), (2.421,0.585,2.439,0.603), (2.691,0.585,2.709,0.603), (2.799,0.585,2.817,0.603), (3.285,0.585,3.303,0.603), (3.555,0.585,3.573,0.603), (3.663,0.585,3.681,0.603), (4.041,0.585,4.059,0.603), (4.203,0.585,4.221,0.603), (4.419,0.585,4.437,0.603), (4.689,0.585,4.707,0.603), (0.045,0.639,0.063,0.657), (0.207,0.639,0.225,0.657), (0.423,0.639,0.441,0.657), (1.287,0.639,1.305,0.657), (1.503,0.639,1.521,0.657), (2.529,0.639,2.547,0.657), (3.015,0.639,3.033,0.657), (3.393,0.639,3.411,0.657), (3.879,0.639,3.897,0.657), (4.095,0.639,4.113,0.657), (4.257,0.639,4.275,0.657), (4.581,0.639,4.599,0.657), (4.851,0.639,4.869,0.657), (4.959,0.639,4.977,0.657), (2.367,0.693,2.385,0.711), (2.475,0.693,2.493,0.711), (2.745,0.693,2.763,0.711), (2.853,0.693,2.871,0.711), (3.069,0.693,3.087,0.711), (3.231,0.693,3.249,0.711), (3.339,0.693,3.357,0.711), (3.609,0.693,3.627,0.711), (3.717,0.693,3.735,0.711), (3.933,0.693,3.951,0.711), (4.365,0.693,4.383,0.711), (4.473,0.693,4.491,0.711), (2.313,0.747,2.331,0.765), (2.583,0.747,2.601,0.765), (3.177,0.747,3.195,0.765), (3.447,0.747,3.465,0.765)])
A(neuron_mirror_n2_p3, via2, 0.936, 0.018, 0.018, 0.018, 3, 2, 0.216, 0.567)
A(neuron_mirror_n2_p3, via2, 3.96, 0.018, 0.018, 0.018, 3, 2, 0.162, 0.567)
A(neuron_mirror_n2_p3, via2, 1.044, 0.261, 0.018, 0.018, 3, 1, 0.216, 0)
A(neuron_mirror_n2_p3, via2, 4.068, 0.261, 0.018, 0.018, 3, 1, 0.162, 0)
R(neuron_mirror_n2_p3, via2, [(0.288,0.018,0.306,0.036), (0.45,0.018,0.468,0.036), (0.666,0.018,0.684,0.036), (1.53,0.018,1.548,0.036), (1.746,0.018,1.764,0.036), (2.016,0.018,2.034,0.036), (2.232,0.018,2.25,0.036), (2.61,0.018,2.628,0.036), (3.096,0.018,3.114,0.036), (3.474,0.018,3.492,0.036), (4.608,0.018,4.626,0.036), (4.878,0.018,4.896,0.036), (0.18,0.261,0.198,0.279), (0.396,0.261,0.414,0.279), (0.558,0.261,0.576,0.279), (0.774,0.261,0.792,0.279), (1.638,0.261,1.656,0.279), (1.854,0.261,1.872,0.279), (2.124,0.261,2.142,0.279), (2.34,0.261,2.358,0.279), (2.718,0.261,2.736,0.279), (3.204,0.261,3.222,0.279), (3.582,0.261,3.6,0.279), (4.716,0.261,4.734,0.279), (0.234,0.315,0.252,0.333), (0.612,0.315,0.63,0.333), (0.828,0.315,0.846,0.333), (1.098,0.315,1.116,0.333), (1.314,0.315,1.332,0.333), (1.692,0.315,1.71,0.333), (1.908,0.315,1.926,0.333), (2.178,0.315,2.196,0.333), (2.394,0.315,2.412,0.333), (2.772,0.315,2.79,0.333), (3.258,0.315,3.276,0.333), (3.636,0.315,3.654,0.333), (4.446,0.315,4.464,0.333), (4.77,0.315,4.788,0.333), (0.882,0.369,0.9,0.387), (1.962,0.369,1.98,0.387), (2.502,0.369,2.52,0.387), (2.826,0.369,2.844,0.387), (3.366,0.369,3.384,0.387), (3.69,0.369,3.708,0.387), (4.5,0.369,4.518,0.387), (4.824,0.369,4.842,0.387), (3.042,0.423,3.06,0.441), (3.906,0.423,3.924,0.441), (4.554,0.423,4.572,0.441), (0.288,0.585,0.306,0.603), (0.45,0.585,0.468,0.603), (0.666,0.585,0.684,0.603), (1.53,0.585,1.548,0.603), (1.746,0.585,1.764,0.603), (2.016,0.585,2.034,0.603), (2.232,0.585,2.25,0.603), (2.61,0.585,2.628,0.603), (3.096,0.585,3.114,0.603), (3.474,0.585,3.492,0.603), (4.608,0.585,4.626,0.603), (4.878,0.585,4.896,0.603)])
A(neuron_mirror_n2_p3, metal3, 0.936, 0.013, 0.018, 0.595, 3, 1, 0.216, 0)
A(neuron_mirror_n2_p3, metal3, 3.96, 0.013, 0.018, 0.595, 3, 1, 0.162, 0)
A(neuron_mirror_n2_p3, metal3, 2.718, 0.256, 0.018, 0.877, 3, 1, 0.756, 0)
R(neuron_mirror_n2_p3, metal3, [(0.288,0.013,0.306,0.608), (0.45,0.013,0.468,0.608), (0.666,0.013,0.684,0.608), (1.53,0.013,1.548,0.608), (1.746,0.013,1.764,0.608), (2.016,0.013,2.034,0.608), (2.232,0.013,2.25,0.608), (2.61,0.013,2.628,0.608), (3.096,0.013,3.114,0.608), (3.474,0.013,3.492,0.608), (4.608,0.013,4.626,0.608), (4.878,0.013,4.896,0.608), (0.18,0.256,0.198,0.893), (0.288,0.256,0.306,0.941), (0.396,0.256,0.414,0.941), (0.45,0.256,0.468,1.133), (0.558,0.256,0.576,0.893), (0.666,0.256,0.684,0.989), (0.774,0.256,0.792,0.893), (0.936,0.256,0.954,0.893), (1.044,0.256,1.062,0.941), (1.152,0.256,1.17,0.989), (1.26,0.256,1.278,0.893), (1.368,0.256,1.386,1.085), (1.476,0.256,1.494,1.085), (1.53,0.256,1.548,0.941), (1.638,0.256,1.656,0.893), (1.746,0.256,1.764,1.037), (1.854,0.256,1.872,0.893), (2.016,0.256,2.034,0.893), (2.124,0.256,2.142,1.085), (2.232,0.256,2.25,1.085), (2.34,0.256,2.358,1.133), (2.61,0.256,2.628,1.037), (3.096,0.256,3.114,0.941), (3.204,0.256,3.222,0.989), (3.582,0.256,3.6,0.989), (3.96,0.256,3.978,0.893), (4.068,0.256,4.086,0.893), (4.122,0.256,4.14,0.989), (4.284,0.256,4.302,0.893), (4.392,0.256,4.41,1.037), (4.608,0.256,4.626,0.941), (4.716,0.256,4.734,1.037), (4.878,0.256,4.896,0.989), (0.234,0.31,0.252,1.037), (0.612,0.31,0.63,1.037), (0.828,0.31,0.846,1.037), (1.098,0.31,1.116,0.893), (1.314,0.31,1.332,1.181), (1.692,0.31,1.71,1.181), (1.908,0.31,1.926,1.181), (2.178,0.31,2.196,0.893), (2.394,0.31,2.412,0.941), (2.772,0.31,2.79,0.941), (3.258,0.31,3.276,1.085), (3.636,0.31,3.654,1.085), (4.446,0.31,4.464,0.989), (4.77,0.31,4.788,0.989), (0.882,0.364,0.9,0.989), (1.962,0.364,1.98,1.037), (2.502,0.364,2.52,0.893), (2.826,0.364,2.844,0.893), (3.366,0.364,3.384,0.893), (3.69,0.364,3.708,0.893), (4.5,0.364,4.518,0.941), (4.824,0.364,4.842,0.893), (3.042,0.418,3.06,1.037), (3.906,0.418,3.924,1.133), (4.554,0.418,4.572,0.893)])
A(neuron_mirror_n2_p3, via3, 0.774, 0.864, 0.018, 0.024, 4, 1, 0.162, 0)
A(neuron_mirror_n2_p3, via3, 1.854, 0.864, 0.018, 0.024, 3, 1, 0.162, 0)
A(neuron_mirror_n2_p3, via3, 4.284, 0.864, 0.018, 0.024, 3, 1, 0.27, 0)
A(neuron_mirror_n2_p3, via3, 4.122, 0.96, 0.018, 0.024, 3, 1, 0.324, 0)
R(neuron_mirror_n2_p3, via3, [(0.18,0.864,0.198,0.888), (0.558,0.864,0.576,0.888), (1.638,0.864,1.656,0.888), (2.502,0.864,2.52,0.888), (2.826,0.864,2.844,0.888), (3.366,0.864,3.384,0.888), (3.69,0.864,3.708,0.888), (3.96,0.864,3.978,0.888), (4.068,0.864,4.086,0.888), (0.288,0.912,0.306,0.936), (0.396,0.912,0.414,0.936), (1.044,0.912,1.062,0.936), (1.53,0.912,1.548,0.936), (2.394,0.912,2.412,0.936), (2.772,0.912,2.79,0.936), (3.096,0.912,3.114,0.936), (4.5,0.912,4.518,0.936), (4.608,0.912,4.626,0.936), (0.666,0.96,0.684,0.984), (0.882,0.96,0.9,0.984), (1.152,0.96,1.17,0.984), (3.204,0.96,3.222,0.984), (3.582,0.96,3.6,0.984), (4.878,0.96,4.896,0.984), (0.234,1.008,0.252,1.032), (0.612,1.008,0.63,1.032), (0.828,1.008,0.846,1.032), (1.746,1.008,1.764,1.032), (1.962,1.008,1.98,1.032), (2.61,1.008,2.628,1.032), (3.042,1.008,3.06,1.032), (4.392,1.008,4.41,1.032), (4.716,1.008,4.734,1.032), (1.368,1.056,1.386,1.08), (1.476,1.056,1.494,1.08), (2.124,1.056,2.142,1.08), (2.232,1.056,2.25,1.08), (3.258,1.056,3.276,1.08), (3.636,1.056,3.654,1.08), (0.45,1.104,0.468,1.128), (2.34,1.104,2.358,1.128), (2.718,1.104,2.736,1.128), (3.474,1.104,3.492,1.128), (3.906,1.104,3.924,1.128), (4.23,1.104,4.248,1.128), (1.314,1.152,1.332,1.176), (1.692,1.152,1.71,1.176), (1.908,1.152,1.926,1.176)])
R(neuron_mirror_n2_p3, metal4, [(0.167,0.864,0.211,0.888), (0.545,0.864,0.805,0.888), (0.923,0.864,1.129,0.888), (1.247,0.864,1.291,0.888), (1.625,0.864,1.885,0.888), (2.003,0.864,2.209,0.888), (2.489,0.864,2.857,0.888), (3.353,0.864,3.721,0.888), (3.947,0.864,4.099,0.888), (4.271,0.864,4.855,0.888), (0.275,0.912,1.075,0.936), (1.517,0.912,2.803,0.936), (3.083,0.912,4.531,0.936), (4.595,0.912,4.639,0.936), (0.653,0.96,0.913,0.984), (1.139,0.96,3.613,0.984), (4.109,0.96,4.801,0.984), (4.865,0.96,4.909,0.984), (0.221,1.008,0.265,1.032), (0.599,1.008,0.859,1.032), (1.733,1.008,1.993,1.032), (2.597,1.008,4.747,1.032), (1.355,1.056,2.155,1.08), (2.219,1.056,3.667,1.08), (0.437,1.104,2.749,1.128), (3.461,1.104,4.261,1.128), (1.301,1.152,1.345,1.176), (1.679,1.152,1.939,1.176)])
A(neuron_mirror_n2_p3, sdt, 0.042, 0.189, 0.024, 0.054, 4, 1, 0.108, 0)
A(neuron_mirror_n2_p3, sdt, 0.42, 0.189, 0.024, 0.054, 4, 1, 0.108, 0)
A(neuron_mirror_n2_p3, sdt, 0.798, 0.189, 0.024, 0.054, 3, 1, 0.054, 0)
A(neuron_mirror_n2_p3, sdt, 1.014, 0.189, 0.024, 0.054, 3, 1, 0.054, 0)
A(neuron_mirror_n2_p3, sdt, 1.23, 0.189, 0.024, 0.054, 3, 1, 0.108, 0)
A(neuron_mirror_n2_p3, sdt, 1.5, 0.189, 0.024, 0.054, 4, 1, 0.108, 0)
A(neuron_mirror_n2_p3, sdt, 1.878, 0.189, 0.024, 0.054, 3, 1, 0.054, 0)
A(neuron_mirror_n2_p3, sdt, 2.094, 0.189, 0.024, 0.054, 3, 1, 0.054, 0)
A(neuron_mirror_n2_p3, sdt, 2.472, 0.189, 0.024, 0.054, 3, 1, 0.054, 0)
A(neuron_mirror_n2_p3, sdt, 2.85, 0.189, 0.024, 0.054, 5, 1, 0.054, 0)
A(neuron_mirror_n2_p3, sdt, 3.336, 0.189, 0.024, 0.054, 3, 1, 0.054, 0)
A(neuron_mirror_n2_p3, sdt, 3.714, 0.189, 0.024, 0.054, 5, 1, 0.054, 0)
A(neuron_mirror_n2_p3, sdt, 4.254, 0.189, 0.024, 0.054, 3, 1, 0.108, 0)
A(neuron_mirror_n2_p3, sdt, 4.686, 0.189, 0.024, 0.054, 4, 1, 0.054, 0)
A(neuron_mirror_n2_p3, sdt, 0.15, 0.459, 0.024, 0.081, 3, 1, 0.054, 0)
A(neuron_mirror_n2_p3, sdt, 0.528, 0.459, 0.024, 0.081, 3, 1, 0.054, 0)
A(neuron_mirror_n2_p3, sdt, 0.906, 0.459, 0.024, 0.081, 4, 1, 0.108, 0)
A(neuron_mirror_n2_p3, sdt, 1.608, 0.459, 0.024, 0.081, 3, 1, 0.054, 0)
A(neuron_mirror_n2_p3, sdt, 1.986, 0.459, 0.024, 0.081, 4, 1, 0.108, 0)
A(neuron_mirror_n2_p3, sdt, 2.364, 0.459, 0.024, 0.081, 5, 1, 0.054, 0)
A(neuron_mirror_n2_p3, sdt, 2.688, 0.459, 0.024, 0.081, 4, 1, 0.054, 0)
A(neuron_mirror_n2_p3, sdt, 3.174, 0.459, 0.024, 0.081, 6, 1, 0.054, 0)
A(neuron_mirror_n2_p3, sdt, 3.552, 0.459, 0.024, 0.081, 4, 1, 0.054, 0)
A(neuron_mirror_n2_p3, sdt, 4.362, 0.459, 0.024, 0.081, 3, 1, 0.054, 0)
R(neuron_mirror_n2_p3, sdt, [(2.31,0.189,2.334,0.243), (2.364,0.189,2.388,0.243), (2.688,0.189,2.712,0.243), (3.174,0.189,3.198,0.243), (3.228,0.189,3.252,0.243), (3.552,0.189,3.576,0.243), (4.038,0.189,4.062,0.243), (4.092,0.189,4.116,0.243), (4.2,0.189,4.224,0.243), (4.524,0.189,4.548,0.243), (4.578,0.189,4.602,0.243), (4.956,0.189,4.98,0.243), (0.042,0.459,0.066,0.54), (0.366,0.459,0.39,0.54), (0.42,0.459,0.444,0.54), (0.744,0.459,0.768,0.54), (0.852,0.459,0.876,0.54), (1.284,0.459,1.308,0.54), (1.338,0.459,1.362,0.54), (1.446,0.459,1.47,0.54), (1.5,0.459,1.524,0.54), (1.824,0.459,1.848,0.54), (1.932,0.459,1.956,0.54), (3.012,0.459,3.036,0.54), (3.066,0.459,3.09,0.54), (3.876,0.459,3.9,0.54), (3.93,0.459,3.954,0.54), (4.038,0.459,4.062,0.54), (4.092,0.459,4.116,0.54), (4.2,0.459,4.224,0.54), (4.254,0.459,4.278,0.54), (4.578,0.459,4.602,0.54), (4.686,0.459,4.71,0.54), (4.848,0.459,4.872,0.54), (4.956,0.459,4.98,0.54)])
R(neuron_mirror_n2_p3, boundary, [(0,0,5.022,1.2)])
neuron_mirror_n2_p3.add(gdstk.Label('VSS', (0.054,0.081), layer=20, texttype=251))
neuron_mirror_n2_p3.add(gdstk.Label('VDD', (0.054,0.648), layer=20, texttype=251))
neuron_mirror_n2_p3.add(gdstk.Label('VSS', (0.054,0.189), layer=3, texttype=251))
neuron_mirror_n2_p3.add(gdstk.Label('VDD', (0.054,0.459), layer=1, texttype=251))
neuron_mirror_n2_p3.add(gdstk.Label('i0', (0.189,0.876), layer=40, texttype=251))
neuron_mirror_n2_p3.add(gdstk.Label('i4', (0.243,1.02), layer=40, texttype=251))
neuron_mirror_n2_p3.add(gdstk.Label('i1', (0.567,0.876), layer=40, texttype=251))
neuron_mirror_n2_p3.add(gdstk.Label('i5', (0.621,1.02), layer=40, texttype=251))
neuron_mirror_n2_p3.add(gdstk.Label('i2', (1.269,0.876), layer=40, texttype=251))
neuron_mirror_n2_p3.add(gdstk.Label('i6', (1.323,1.164), layer=40, texttype=251))
neuron_mirror_n2_p3.add(gdstk.Label('i3', (1.647,0.876), layer=40, texttype=251))
neuron_mirror_n2_p3.add(gdstk.Label('i7', (1.701,1.164), layer=40, texttype=251))
neuron_mirror_n2_p3.add(gdstk.Label('i8', (2.511,0.876), layer=40, texttype=251))
neuron_mirror_n2_p3.add(gdstk.Label('i9', (3.375,0.876), layer=40, texttype=251))
neuron_mirror_n2_p3.add(gdstk.Label('n18', (4.617,0.924), layer=40, texttype=251))
neuron_mirror_n2_p3.add(gdstk.Label('n19', (4.887,0.972), layer=40, texttype=251))

lib.write_gds('neuron_mirror_n2_p3.gds')
